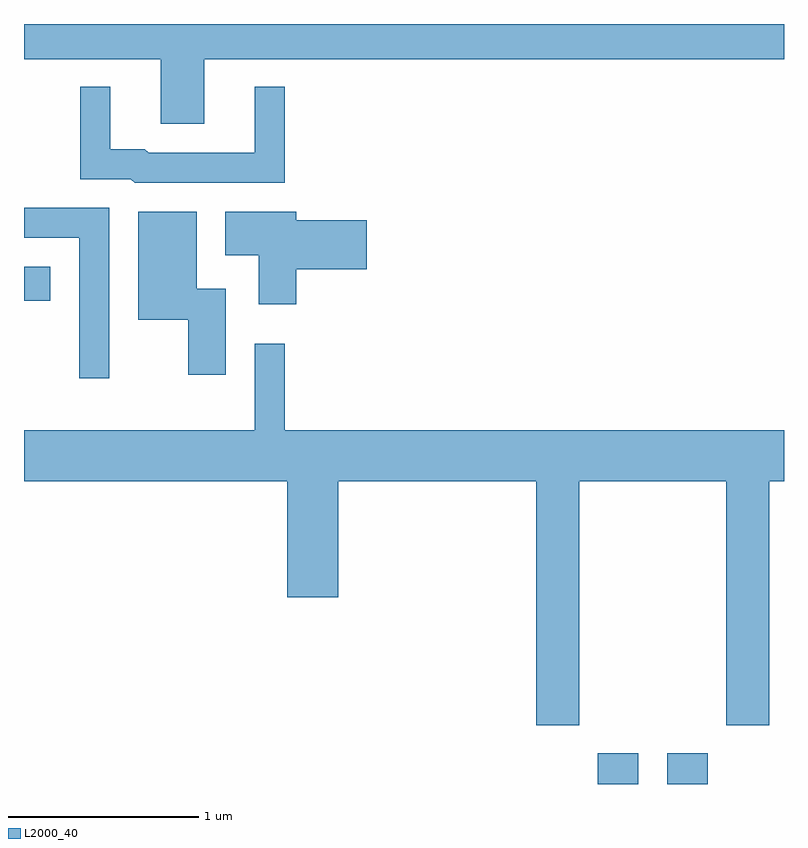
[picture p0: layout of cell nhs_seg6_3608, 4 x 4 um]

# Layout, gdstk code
import gdstk
lib = gdstk.Library(unit=1e-6, precision=1e-09)
def R(c, l, rs):  # rectangles x0, y0, x1, y1
    for r in rs: c.add(gdstk.rectangle(r[:2], r[2:], *l))
def P(c, l, *ps):  # polygons
    for p in ps: c.add(gdstk.Polygon(p, *l))
L2000_40 = (2000, 40)

nhs_seg6_3608 = lib.new_cell('nhs_seg6_3608')
R(nhs_seg6_3608, L2000_40, [(296.631,1606.162,296.844,1606.324), (296.996,1606.162,297.209,1606.324), (293.611,1608.706,293.749,1608.884)])
P(nhs_seg6_3608, L2000_40, [(294.559,1609.976),(297.611,1609.976),(297.611,1610.162),(293.611,1610.162),(293.611,1609.976),(294.331,1609.976),(294.331,1609.636),(294.559,1609.636)],
  [(294.984,1609.833),(294.826,1609.833),(294.826,1609.484),(294.267,1609.484),(294.247,1609.504),(294.064,1609.504),(294.064,1609.833),(293.906,1609.833),(293.906,1609.346),(294.174,1609.346),(294.194,1609.326),(294.984,1609.326)],
  [(294.059,1609.194),(293.611,1609.194),(293.611,1609.036),(293.901,1609.036),(293.901,1608.298),(294.059,1608.298)],
  [(295.044,1608.871),(295.414,1608.871),(295.414,1609.129),(295.044,1609.129),(295.044,1609.174),(294.671,1609.174),(294.671,1608.946),(294.846,1608.946),(294.846,1608.686),(295.044,1608.686)],
  [(294.674,1608.769),(294.519,1608.769),(294.519,1609.174),(294.211,1609.174),(294.211,1608.606),(294.476,1608.606),(294.476,1608.316),(294.674,1608.316)],
  [(296.534,1607.756),(297.306,1607.756),(297.306,1606.471),(297.534,1606.471),(297.534,1607.756),(297.611,1607.756),(297.611,1608.024),(294.984,1608.024),(294.984,1608.478),(294.826,1608.478),(294.826,1608.024),(293.611,1608.024),(293.611,1607.756),(294.996,1607.756),(294.996,1607.146),(295.264,1607.146),(295.264,1607.756),(296.306,1607.756),(296.306,1606.471),(296.534,1606.471)])

lib.write_gds('nhs_seg6_3608.gds')
